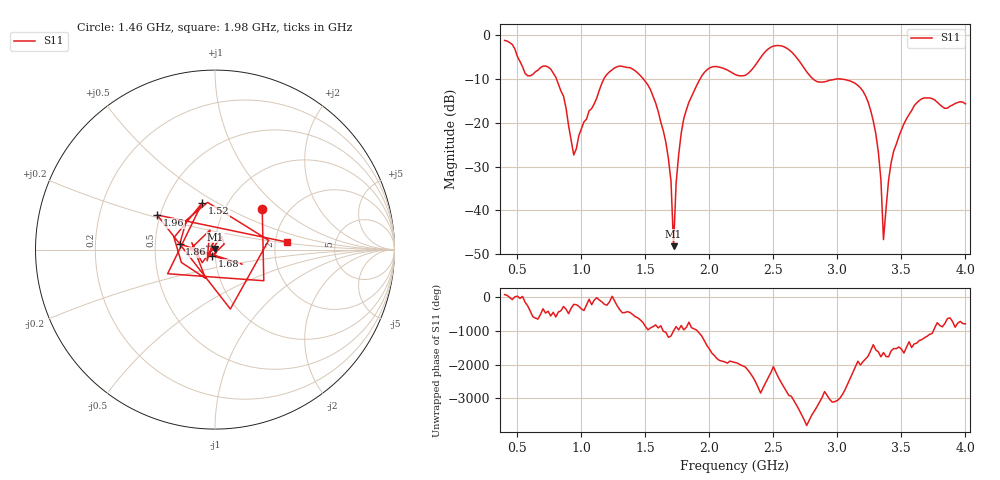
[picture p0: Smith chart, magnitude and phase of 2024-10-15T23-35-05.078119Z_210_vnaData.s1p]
! Created with skrf (http://scikit-rf.org).
# Hz S RI R 50.0
!freq ReS11 ImS11
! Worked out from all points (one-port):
!   181 points, 400 MHz to 4 GHz, reference 50 ohm
!   lowest |S11| = -48.2 dB at 1.72 GHz (marker M1), VSWR 1.01, Z = 50.1 + j0.379 ohm
!   |S11| at or under -10 dB: 805.3 MHz to 1.175 GHz (370 MHz wide, 37.4 % of centre); 1.485 GHz to 1.927 GHz (442.3 MHz wide, 25.9 % of centre); 3.03 GHz to end of sweep (the widest 3 of 4)
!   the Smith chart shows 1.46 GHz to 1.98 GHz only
!   S11 on the Smith chart (normalised r, x): 1.46 GHz: 1.48, +0.76; 1.52 GHz: 0.76, +0.43; 1.68 GHz: 0.97, -0.07; 1.86 GHz: 0.67, +0.04; 1.96 GHz: 0.48, +0.22; 1.98 GHz: 2.31, +0.23
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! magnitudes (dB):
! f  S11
! 400 MHz  -1.2
! 580 MHz  -9.3
! 760 MHz  -7.7
! 860 MHz  -13.9
! 940 MHz  -27.3
! 1.18 GHz  -9.7
! 1.3 GHz  -7.0
! 1.46 GHz  -9.2
! 1.52 GHz  -11.4
! 1.68 GHz  -28.3
! 1.7 GHz  -33.3
! 1.72 GHz  -48.2
! 1.74 GHz  -33.7
! 1.76 GHz  -27.3
! 1.86 GHz  -14.0
! 1.96 GHz  -8.5
! 1.98 GHz  -7.9
! 2.2 GHz  -9.0
! 2.5 GHz  -2.5
! 2.66 GHz  -4.4
! 2.84 GHz  -10.6
! 3.1 GHz  -10.4
! 3.28 GHz  -19.5
! 3.34 GHz  -33.0
! 3.36 GHz  -46.7
! 3.42 GHz  -29.1
! 3.56 GHz  -18.1
! 4 GHz  -15.7
